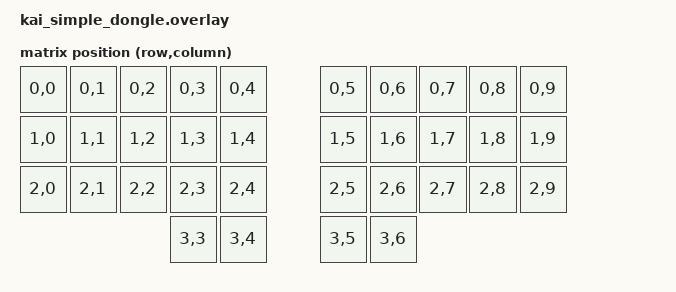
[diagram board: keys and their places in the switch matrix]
#include <dt-bindings/zmk/matrix_transform.h>

#include "kai_simple-layout.dtsi"
#include "kai_simple_pinctrl.dtsi"

&default_layout {
    transform = <&default_transform>;
};

&i2c0 {
    status = "okay";

    oled: ssd1306@3c {
        compatible = "solomon,ssd1306fb";
        reg = <0x3c>;
        width = <128>;
        height = <32>;
        segment-offset = <0>;
        page-offset = <0>;
        display-offset = <0>;
        multiplex-ratio = <31>;
        com-sequential;
        prechargep = <0x22>;
        inversion-on;
    };

    glidepoint1: glidepoint1@2a {
        compatible = "cirque,pinnacle";
        reg = <0x2A>;
        status = "okay";
        /* dr-gpios = <&xiao_d 3 (GPIO_ACTIVE_HIGH)>; */
        
        //default driver options
        sensitivity = "2x"; //1x, 2x, 3x, 4x
        //rotate-90;
        //x-invert;
        //y-invert;
        sleep;
        //no-secondary-tap;
        //no-taps;
        //x-axis-z-min = 5; //default 5, malformed value error
        //y-axis-z-min = 4; // default 4, malformed value error
        absolute-mode;
    };
};

&glidepointtranslator_listener {
    status = "okay";
    device = <&glidepoint1>;
    input-processors = <
        /*&zip_gestures*/
        /* &zip_temp_layer 5 500 */
        /*&zip_absolute_to_relative*/
        /*&zip_xy_transform (INPUT_TRANSFORM_X_INVERT)*/
        &pointer_accel
    >;
};

// Overrides for the input-split child node
&glidepoint_split {
    device = <&glidepointtranslator_listener>;
    // Optional
        /*input-processors = <
            &zip_xy_scaler 2 1> // multiplier / divisor scaling
	    	&zip_xy_transform (INPUT_TRANSFORM_XY_SWAP | INPUT_TRANSFORM_X_INVERT | INPUT_TRANSFORM_Y_INVERT)
	    >;*/
};

/ {
    chosen {
        zmk,kscan = &mock_kscan;
        zmk,physical-layout = &default_layout;
        zephyr,display = &oled;
    };

    mock_kscan: mock_kscan_0 {
        compatible = "zmk,kscan-mock";
        columns = <0>;
        rows = <0>;
        events = <0>;
    };

    default_transform: keymap_transform_0 {
        compatible = "zmk,matrix-transform";
        columns = <10>;
        rows = <4>;

        map = <
            RC(0,0)     RC(0,1)     RC(0,2)     RC(0,3)     RC(0,4)         RC(0,5)     RC(0,6)     RC(0,7)     RC(0,8 )    RC(0,9)
            RC(1,0)     RC(1,1)     RC(1,2)     RC(1,3)     RC(1,4)         RC(1,5)     RC(1,6)     RC(1,7)     RC(1,8)     RC(1,9)
            RC(2,0)     RC(2,1)     RC(2,2)     RC(2,3)     RC(2,4)         RC(2,5)     RC(2,6)     RC(2,7)     RC(2,8)     RC(2,9)
                                                RC(3,3)     RC(3,4)         RC(3,5)     RC(3,6)
        >;
    };
    
};

